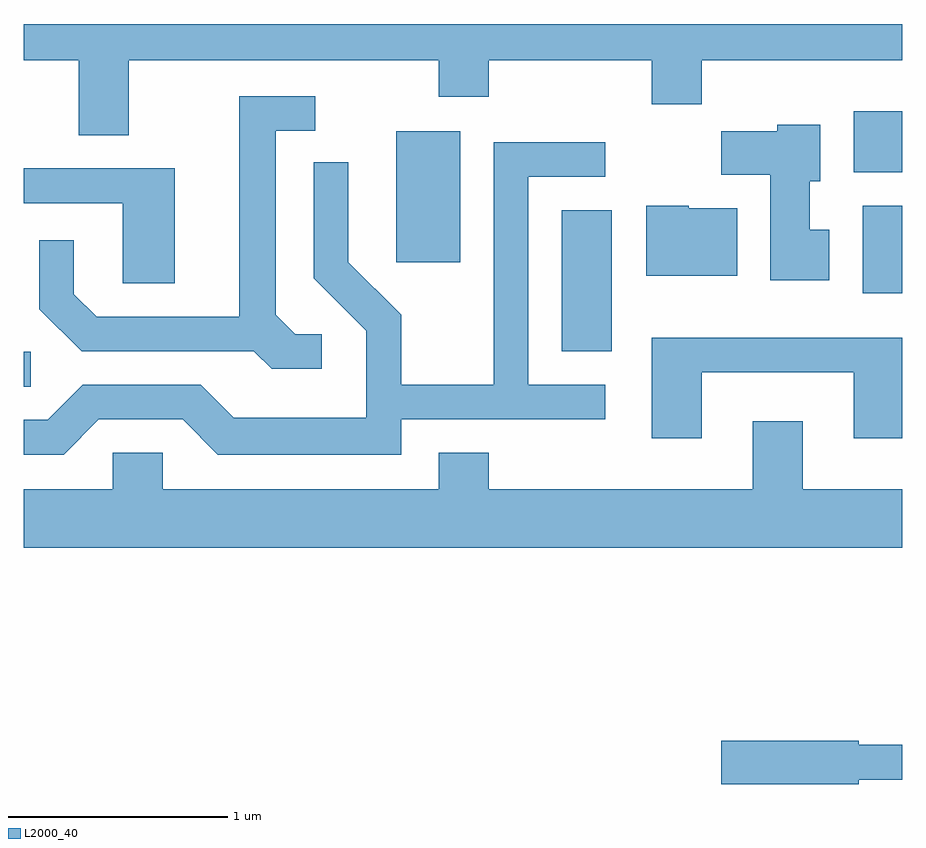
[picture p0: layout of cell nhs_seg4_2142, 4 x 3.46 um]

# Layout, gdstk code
import gdstk
lib = gdstk.Library(unit=1e-6, precision=1e-09)
def R(c, l, rs):  # rectangles x0, y0, x1, y1
    for r in rs: c.add(gdstk.rectangle(r[:2], r[2:], *l))
def P(c, l, *ps):  # polygons
    for p in ps: c.add(gdstk.Polygon(p, *l))
L2000_40 = (2000, 40)

nhs_seg4_2142 = lib.new_cell('nhs_seg4_2142')
R(nhs_seg4_2142, L2000_40, [(247.611,1324.331,247.643,1324.489), (250.061,1324.491,250.289,1325.134), (251.431,1324.756,251.611,1325.154), (249.306,1324.896,249.599,1325.494), (251.391,1325.306,251.611,1325.584)])
P(nhs_seg4_2142, L2000_40, [(248.089,1325.816),(249.501,1325.816),(249.501,1325.651),(249.729,1325.651),(249.729,1325.816),(250.471,1325.816),(250.471,1325.616),(250.699,1325.616),(250.699,1325.816),(251.611,1325.816),(251.611,1325.982),(247.611,1325.982),(247.611,1325.816),(247.861,1325.816),(247.861,1325.476),(248.089,1325.476)],
  [(248.968,1324.569),(248.847,1324.569),(248.759,1324.657),(248.759,1325.496),(248.938,1325.496),(248.938,1325.654),(248.591,1325.654),(248.591,1324.649),(247.942,1324.649),(247.839,1324.752),(247.839,1324.998),(247.681,1324.998),(247.681,1324.684),(247.874,1324.491),(248.659,1324.491),(248.739,1324.411),(248.968,1324.411)],
  [(251.279,1325.044),(251.189,1325.044),(251.189,1325.266),(251.239,1325.266),(251.239,1325.524),(251.041,1325.524),(251.041,1325.494),(250.786,1325.494),(250.786,1325.296),(251.011,1325.296),(251.011,1324.816),(251.279,1324.816)],
  [(247.952,1324.181),(248.334,1324.181),(248.494,1324.021),(249.329,1324.021),(249.329,1324.181),(250.258,1324.181),(250.258,1324.339),(249.909,1324.339),(249.909,1325.286),(250.258,1325.286),(250.258,1325.444),(249.751,1325.444),(249.751,1324.339),(249.329,1324.339),(249.329,1324.657),(249.089,1324.897),(249.089,1325.353),(248.931,1325.353),(248.931,1324.824),(249.171,1324.584),(249.171,1324.189),(248.567,1324.189),(248.417,1324.339),(247.879,1324.339),(247.719,1324.179),(247.611,1324.179),(247.611,1324.021),(247.792,1324.021)],
  [(248.299,1325.324),(247.611,1325.324),(247.611,1325.166),(248.061,1325.166),(248.061,1324.801),(248.299,1324.801)],
  [(250.859,1325.144),(250.64,1325.144),(250.64,1325.154),(250.446,1325.154),(250.446,1324.836),(250.859,1324.836)],
  [(250.699,1324.396),(251.391,1324.396),(251.391,1324.096),(251.611,1324.096),(251.611,1324.554),(250.471,1324.554),(250.471,1324.096),(250.699,1324.096)],
  [(251.611,1323.864),(251.159,1323.864),(251.159,1324.174),(250.931,1324.174),(250.931,1323.864),(249.729,1323.864),(249.729,1324.029),(249.501,1324.029),(249.501,1323.864),(248.244,1323.864),(248.244,1324.029),(248.016,1324.029),(248.016,1323.864),(247.611,1323.864),(247.611,1323.596),(251.611,1323.596)],
  [(251.414,1322.541),(251.611,1322.541),(251.611,1322.699),(251.414,1322.699),(251.414,1322.719),(250.786,1322.719),(250.786,1322.521),(251.414,1322.521)])

lib.write_gds('nhs_seg4_2142.gds')
